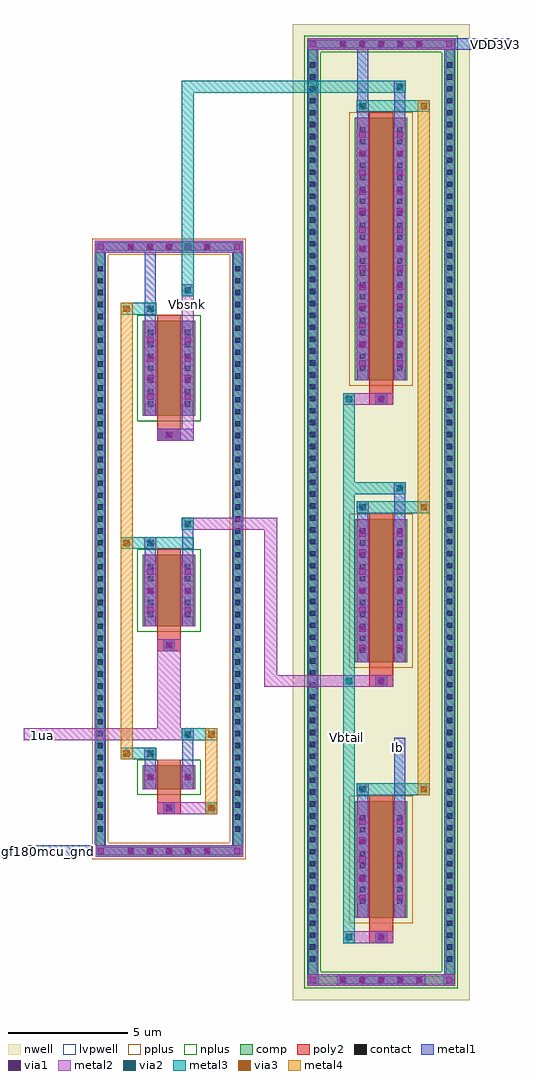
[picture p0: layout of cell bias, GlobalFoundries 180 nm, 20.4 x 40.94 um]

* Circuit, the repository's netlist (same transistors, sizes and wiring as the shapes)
** sch_path: /foss/designs/core_pga/folded_cascode/bias.sch
.subckt bias gf180mcu_gnd VDD3V3 1ua Vbtail Vbsnk Ib
*.PININFO gf180mcu_gnd:B VDD3V3:B 1ua:B Vbtail:B Vbsnk:B Ib:B
M12 1ua 1ua gf180mcu_gnd gf180mcu_gnd nfet_03v3 L=1u W=1u nf=1
M13 Vbtail 1ua gf180mcu_gnd gf180mcu_gnd nfet_03v3 L=1u W=3u nf=1
M14 Vbtail Vbtail VDD3V3 VDD3V3 pfet_03v3 L=1u W=6u nf=1
M15 Vbsnk Vbsnk gf180mcu_gnd gf180mcu_gnd nfet_03v3 L=1u W=4u nf=1
M16 Vbsnk Vbtail VDD3V3 VDD3V3 pfet_03v3 L=1u W=11u nf=1
M28 Ib Vbtail VDD3V3 VDD3V3 pfet_03v3 L=1u W=4.9u nf=1
.ends

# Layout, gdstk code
import gdstk
lib = gdstk.Library(unit=1e-6, precision=5e-09)
def R(c, l, rs):  # rectangles x0, y0, x1, y1
    for r in rs: c.add(gdstk.rectangle(r[:2], r[2:], *l))
def A(c, l, x, y, w, h, nx, ny, dx, dy):  # array of equal rectangles
    R(c, l, [(x+i*dx, y+j*dy, x+i*dx+w, y+j*dy+h) for i in range(nx) for j in range(ny)])
def P(c, l, *ps):  # polygons
    for p in ps: c.add(gdstk.Polygon(p, *l))
nwell = (21, 0)
comp = (22, 0)
poly2 = (30, 0)
pplus = (31, 0)
nplus = (32, 0)
contact = (33, 0)
metal1 = (34, 0)
via1 = (35, 0)
metal2 = (36, 0)
via2 = (38, 0)
via3 = (40, 0)
metal3 = (42, 0)
metal4 = (46, 0)
lvpwell = (204, 0)

bias = lib.new_cell('bias')
R(bias, nwell, [(5.18,-9.595,12.62,31.345), (7.45,-7.325,10.35,0.415), (7.45,3.415,10.35,12.245), (7.45,15.245,10.35,29.075)])
A(bias, comp, 7.12, -8.935, 0.36, 0.36, 5, 2, 0.8, 39.26)
A(bias, comp, 5.84, -8.055, 0.36, 0.36, 1, 76, 0, 0.5)
A(bias, comp, 11.6, -8.055, 0.36, 0.36, 1, 76, 0, 0.5)
A(bias, comp, -1.78, -3.525, 0.36, 0.36, 5, 2, 0.8, 25.35)
A(bias, comp, -3.06, -2.6, 0.36, 0.36, 1, 48, 0, 0.5)
A(bias, comp, 2.7, -2.6, 0.36, 0.36, 1, 48, 0, 0.5)
R(bias, comp, [(7.12,-8.935,10.68,-8.575), (5.84,-8.055,6.2,29.805), (11.6,-8.055,11.96,29.805), (7.8,-6.155,10,-1.255), (-1.78,-3.525,1.78,-3.165), (-3.06,-2.6,-2.7,21.26), (2.7,-2.6,3.06,21.26), (-1.1,-0.755,1.1,0.245), (7.8,4.575,10,10.575), (-1.1,6.075,1.1,9.075), (-1.1,14.905,1.1,18.905), (7.8,16.405,10,27.405), (-1.78,21.825,1.78,22.185), (7.12,30.325,10.68,30.685)])
P(bias, comp, [(5.84,-8.935),(5.84,-8.575),(6.2,-8.575),(11.6,-8.575),(11.6,30.325),(6.2,30.325),(6.2,-8.575),(5.84,-8.575),(5.84,30.685),(11.96,30.685),(11.96,-8.935)],
  [(-3.06,-3.525),(-3.06,-3.165),(-2.7,-3.165),(2.7,-3.165),(2.7,21.825),(-2.7,21.825),(-2.7,-3.165),(-3.06,-3.165),(-3.06,22.185),(3.06,22.185),(3.06,-3.525)])
R(bias, poly2, [(8.4,-7.205,9.4,-6.705), (8.72,-7.135,9.08,-6.775), (8.4,-6.705,9.4,-6.4), (8.4,-6.4,9.4,-1.01), (-0.5,-1.795,0.5,-1.295), (-0.18,-1.725,0.18,-1.365), (-0.5,-1.295,0.5,-0.995), (-0.5,-0.995,0.5,0.485), (8.4,3.535,9.4,4.035), (8.72,3.605,9.08,3.965), (8.4,4.035,9.4,4.335), (8.4,4.335,9.4,10.815), (-0.5,5.035,0.5,5.535), (-0.18,5.105,0.18,5.465), (-0.5,5.535,0.5,5.835), (-0.5,5.835,0.5,9.315), (-0.5,13.865,0.5,14.365), (-0.18,13.935,0.18,14.295), (-0.5,14.365,0.5,14.665), (-0.5,14.665,0.5,19.145), (8.4,15.365,9.4,15.865), (8.72,15.435,9.08,15.795), (8.4,15.865,9.4,16.165), (8.4,16.165,9.4,27.645)])
R(bias, pplus, [(7.57,-6.385,10.23,-1.025), (7.57,4.345,10.23,10.805), (7.57,16.175,10.23,27.635)])
P(bias, pplus, [(-3.22,-3.685),(-3.22,-3.005),(-2.54,-3.005),(2.54,-3.005),(2.54,21.665),(-2.54,21.665),(-2.54,-3.005),(-3.22,-3.005),(-3.22,22.345),(3.22,22.345),(3.22,-3.685)])
R(bias, nplus, [(-1.33,-0.985,1.33,0.475), (-1.33,5.845,1.33,9.305), (-1.33,14.675,1.33,19.135)])
P(bias, nplus, [(5.68,-9.095),(5.68,-8.415),(6.36,-8.415),(11.44,-8.415),(11.44,30.165),(6.36,30.165),(6.36,-8.415),(5.68,-8.415),(5.68,30.845),(12.12,30.845),(12.12,-9.095)])
A(bias, contact, 7.19, -8.865, 0.22, 0.22, 5, 2, 0.8, 39.26)
A(bias, contact, 5.91, -7.985, 0.22, 0.22, 1, 76, 0, 0.5)
A(bias, contact, 11.67, -7.985, 0.22, 0.22, 1, 76, 0, 0.5)
A(bias, contact, 8.01, -5.565, 0.22, 0.22, 1, 8, 0, 0.5)
A(bias, contact, 9.57, -5.565, 0.22, 0.22, 1, 8, 0, 0.5)
A(bias, contact, -1.71, -3.455, 0.22, 0.22, 5, 2, 0.8, 25.35)
A(bias, contact, -2.99, -2.53, 0.22, 0.22, 1, 48, 0, 0.5)
A(bias, contact, 2.77, -2.53, 0.22, 0.22, 1, 48, 0, 0.5)
A(bias, contact, 8.01, 4.965, 0.22, 0.22, 1, 11, 0, 0.5)
A(bias, contact, 9.57, 4.965, 0.22, 0.22, 1, 11, 0, 0.5)
A(bias, contact, -0.89, 6.465, 0.22, 0.22, 1, 5, 0, 0.5)
A(bias, contact, 0.67, 6.465, 0.22, 0.22, 1, 5, 0, 0.5)
A(bias, contact, -0.89, 15.295, 0.22, 0.22, 1, 7, 0, 0.5)
A(bias, contact, 0.67, 15.295, 0.22, 0.22, 1, 7, 0, 0.5)
A(bias, contact, 8.01, 16.795, 0.22, 0.22, 1, 21, 0, 0.5)
A(bias, contact, 9.57, 16.795, 0.22, 0.22, 1, 21, 0, 0.5)
R(bias, contact, [(8.79,-7.065,9.01,-6.845), (-0.11,-1.655,0.11,-1.435), (-0.89,-0.365,-0.67,-0.145), (0.67,-0.365,0.89,-0.145), (8.79,3.675,9.01,3.895), (-0.11,5.175,0.11,5.395), (-0.11,14.005,0.11,14.225), (8.79,15.505,9.01,15.725)])
A(bias, metal1, 7.05, -9.005, 0.5, 0.5, 5, 2, 0.8, 39.26)
A(bias, metal1, 5.79, -8.105, 0.46, 0.46, 1, 76, 0, 0.5)
A(bias, metal1, 11.55, -8.105, 0.46, 0.46, 1, 76, 0, 0.5)
A(bias, metal1, 7.89, -5.685, 0.46, 0.46, 1, 8, 0, 0.5)
A(bias, metal1, 9.45, -5.685, 0.46, 0.46, 1, 8, 0, 0.5)
A(bias, metal1, 7.87, -5.555, 0.5, 0.5, 1, 5, 0, 0.8)
A(bias, metal1, 9.43, -5.555, 0.5, 0.5, 1, 5, 0, 0.8)
A(bias, metal1, -1.85, -3.595, 0.5, 0.5, 5, 2, 0.8, 25.35)
A(bias, metal1, -3.11, -2.65, 0.46, 0.46, 1, 48, 0, 0.5)
A(bias, metal1, 2.65, -2.65, 0.46, 0.46, 1, 48, 0, 0.5)
A(bias, metal1, 7.89, 4.845, 0.46, 0.46, 1, 11, 0, 0.5)
A(bias, metal1, 9.45, 4.845, 0.46, 0.46, 1, 11, 0, 0.5)
A(bias, metal1, 7.87, 4.925, 0.5, 0.5, 1, 7, 0, 0.8)
A(bias, metal1, 9.43, 4.925, 0.5, 0.5, 1, 7, 0, 0.8)
A(bias, metal1, -1.01, 6.345, 0.46, 0.46, 1, 5, 0, 0.5)
A(bias, metal1, 0.55, 6.345, 0.46, 0.46, 1, 5, 0, 0.5)
A(bias, metal1, -1.03, 6.525, 0.5, 0.5, 1, 3, 0, 0.8)
A(bias, metal1, 0.53, 6.525, 0.5, 0.5, 1, 3, 0, 0.8)
A(bias, metal1, -1.01, 15.175, 0.46, 0.46, 1, 7, 0, 0.5)
A(bias, metal1, 0.55, 15.175, 0.46, 0.46, 1, 7, 0, 0.5)
A(bias, metal1, -1.03, 15.455, 0.5, 0.5, 1, 4, 0, 0.8)
A(bias, metal1, 0.53, 15.455, 0.5, 0.5, 1, 4, 0, 0.8)
A(bias, metal1, 7.89, 16.675, 0.46, 0.46, 1, 21, 0, 0.5)
A(bias, metal1, 9.45, 16.675, 0.46, 0.46, 1, 21, 0, 0.5)
A(bias, metal1, 7.87, 16.855, 0.5, 0.5, 1, 13, 0, 0.8)
A(bias, metal1, 9.43, 16.855, 0.5, 0.5, 1, 13, 0, 0.8)
R(bias, metal1, [(5.79,-9.005,6.29,-8.505), (5.79,-9.005,6.29,-8.505), (5.79,-9.005,6.25,-8.575), (7.05,-9.005,10.75,-8.505), (11.51,-9.005,12.01,-8.505), (11.51,-9.005,12.01,-8.505), (11.55,-9.005,12.01,-8.575), (5.79,-8.575,6.25,30.325), (11.55,-8.575,12.01,30.325), (8.65,-7.205,9.15,-6.705), (7.89,-6.155,8.35,-1.255), (7.89,-6.155,8.35,-0.505), (9.45,-6.155,9.91,-1.255), (7.87,-5.555,8.37,-1.855), (9.43,-5.555,9.93,-1.855), (-5.93,-3.595,3.11,-3.095), (-3.11,-3.595,-2.61,-3.095), (-3.11,-3.595,-2.61,-3.095), (-3.11,-3.595,-2.65,-3.165), (-1.85,-3.595,1.85,-3.095), (2.61,-3.595,3.11,-3.095), (2.61,-3.595,3.11,-3.095), (2.65,-3.595,3.11,-3.165), (-3.11,-3.165,-2.65,21.825), (2.65,-3.165,3.11,21.825), (-0.25,-1.795,0.25,-1.295), (7.89,-1.255,8.35,-0.505), (9.45,-1.255,9.91,1.41), (7.87,-1.005,8.37,-0.505), (-1.01,-0.755,-0.55,0.995), (-1.01,-0.755,-0.55,0.245), (0.55,-0.755,1.01,0.245), (-1.03,-0.505,-0.53,-0.005), (-1.03,-0.505,-0.53,-0.005), (0.53,-0.505,1.03,-0.005), (0.53,-0.505,1.03,-0.005), (-1.01,-0.485,-0.55,-0.025), (0.55,-0.485,1.01,-0.025), (-1.01,0.245,-0.55,0.995), (0.55,0.245,1.01,1.795), (-1.03,0.495,-0.53,0.995), (0.53,1.295,1.03,1.795), (8.65,3.535,9.15,4.035), (7.89,4.575,8.35,11.325), (7.89,4.575,8.35,10.575), (9.45,4.575,9.91,10.575), (7.87,4.925,8.37,10.225), (9.43,4.925,9.93,10.225), (-0.25,5.035,0.25,5.535), (-1.01,6.075,-0.55,9.075), (-1.01,6.075,-0.55,9.825), (0.55,6.075,1.01,9.075), (-1.03,6.525,-0.53,8.625), (0.53,6.525,1.03,8.625), (-1.01,9.075,-0.55,9.825), (0.55,9.075,1.01,10.625), (-1.03,9.325,-0.53,9.825), (0.53,10.125,1.03,10.625), (7.89,10.575,8.35,11.325), (9.45,10.575,9.91,12.125), (7.87,10.825,8.37,11.325), (9.43,11.625,9.93,12.125), (-0.5,13.865,1.03,14.365), (-0.25,13.865,0.25,14.365), (-1.01,14.905,-0.55,18.905), (-1.01,14.905,-0.55,19.655), (-1.01,14.905,-0.55,22.255), (0.55,14.905,1.01,18.905), (8.65,15.365,9.15,15.865), (-1.03,15.455,-0.53,18.355), (0.53,15.455,1.03,18.355), (7.89,16.405,8.35,27.405), (9.45,16.405,9.91,27.405), (7.87,16.855,8.37,26.955), (7.89,16.855,8.37,28.155), (9.43,16.855,9.93,26.955), (-1.01,18.905,-0.55,19.655), (-1.03,19.155,-0.53,19.655), (0.53,19.93,1.03,20.43), (-3.11,21.755,-2.61,22.255), (-3.11,21.755,-2.61,22.255), (-3.11,21.755,3.11,22.255), (-1.85,21.755,1.85,22.255), (2.61,21.755,3.11,22.255), (2.61,21.755,3.11,22.255), (-3.11,21.825,-2.65,22.255), (2.65,21.825,3.11,22.255), (7.89,27.405,8.35,30.755), (9.45,27.405,9.91,28.955), (7.87,27.655,8.37,28.155), (9.43,28.455,9.93,28.955), (5.79,30.255,6.29,30.755), (5.79,30.255,6.29,30.755), (5.79,30.255,14.31,30.755), (7.05,30.255,10.75,30.755), (11.51,30.255,12.01,30.755), (11.51,30.255,12.01,30.755), (5.79,30.325,6.25,30.755), (11.55,30.325,12.01,30.755)])
P(bias, metal1, [(0.55,18.905),(0.55,18.905),(1.01,18.905),(1.01,18.905)])
A(bias, via1, 7.17, -8.885, 0.26, 0.26, 5, 2, 0.8, 39.26)
A(bias, via1, 7.99, -5.435, 0.26, 0.26, 1, 5, 0, 0.8)
A(bias, via1, 9.55, -5.435, 0.26, 0.26, 1, 5, 0, 0.8)
A(bias, via1, -1.73, -3.475, 0.26, 0.26, 5, 2, 0.8, 25.35)
A(bias, via1, 7.99, 5.045, 0.26, 0.26, 1, 7, 0, 0.8)
A(bias, via1, 9.55, 5.045, 0.26, 0.26, 1, 7, 0, 0.8)
A(bias, via1, -0.91, 6.645, 0.26, 0.26, 1, 3, 0, 0.8)
A(bias, via1, 0.65, 6.645, 0.26, 0.26, 1, 3, 0, 0.8)
A(bias, via1, -0.91, 15.575, 0.26, 0.26, 1, 4, 0, 0.8)
A(bias, via1, 0.65, 15.575, 0.26, 0.26, 1, 4, 0, 0.8)
A(bias, via1, 7.99, 16.975, 0.26, 0.26, 1, 13, 0, 0.8)
A(bias, via1, 9.55, 16.975, 0.26, 0.26, 1, 13, 0, 0.8)
R(bias, via1, [(5.91,-8.885,6.17,-8.625), (11.63,-8.885,11.89,-8.625), (8.77,-7.085,9.03,-6.825), (-2.99,-3.475,-2.73,-3.215), (2.73,-3.475,2.99,-3.215), (-0.13,-1.675,0.13,-1.415), (7.99,-0.885,8.25,-0.625), (-0.91,-0.385,-0.65,-0.125), (0.65,-0.385,0.91,-0.125), (-0.91,0.615,-0.65,0.875), (0.65,1.415,0.91,1.675), (8.77,3.655,9.03,3.915), (-0.13,5.155,0.13,5.415), (-0.91,9.445,-0.65,9.705), (0.65,10.245,0.91,10.505), (7.99,10.945,8.25,11.205), (9.55,11.745,9.81,12.005), (-0.13,13.985,0.13,14.245), (8.77,15.485,9.03,15.745), (-0.91,19.275,-0.65,19.535), (0.65,20.05,0.91,20.31), (-2.99,21.875,-2.73,22.135), (2.73,21.875,2.99,22.135), (7.99,27.775,8.25,28.035), (9.55,28.575,9.81,28.835), (5.91,30.375,6.17,30.635), (11.63,30.375,11.89,30.635)])
A(bias, metal2, 7.05, -9.005, 0.5, 0.5, 5, 2, 0.8, 39.26)
A(bias, metal2, 7.87, -5.555, 0.5, 0.5, 1, 5, 0, 0.8)
A(bias, metal2, 9.43, -5.555, 0.5, 0.5, 1, 5, 0, 0.8)
A(bias, metal2, -1.85, -3.595, 0.5, 0.5, 5, 2, 0.8, 25.35)
A(bias, metal2, 7.87, 4.925, 0.5, 0.5, 1, 7, 0, 0.8)
A(bias, metal2, 9.43, 4.925, 0.5, 0.5, 1, 7, 0, 0.8)
A(bias, metal2, -1.03, 6.525, 0.5, 0.5, 1, 3, 0, 0.8)
A(bias, metal2, 0.53, 6.525, 0.5, 0.5, 1, 3, 0, 0.8)
A(bias, metal2, -1.03, 15.455, 0.5, 0.5, 1, 4, 0, 0.8)
A(bias, metal2, 0.53, 15.455, 0.5, 0.5, 1, 4, 0, 0.8)
A(bias, metal2, 7.87, 16.855, 0.5, 0.5, 1, 13, 0, 0.8)
A(bias, metal2, 9.43, 16.855, 0.5, 0.5, 1, 13, 0, 0.8)
R(bias, metal2, [(5.79,-9.005,6.2,-8.505), (5.79,-9.005,6.29,-8.505), (5.79,-9.005,6.29,-8.505), (6.2,-9.005,11.6,-8.505), (11.51,-9.005,12.01,-8.505), (11.51,-9.005,12.01,-8.505), (11.6,-9.005,12.01,-8.505), (7.3,-7.205,7.8,-6.705), (7.3,-7.205,9.4,-6.705), (7.3,-7.205,9.4,-6.705), (8.65,-7.205,9.15,-6.705), (7.87,-6.155,8.37,-1.255), (9.43,-6.155,9.93,-1.255), (-3.11,-3.595,-2.7,-3.095), (-3.11,-3.595,-2.61,-3.095), (-3.11,-3.595,-2.61,-3.095), (-2.7,-3.595,2.7,-3.095), (2.61,-3.595,3.11,-3.095), (2.61,-3.595,3.11,-3.095), (2.7,-3.595,3.11,-3.095), (-0.5,-1.795,0.5,-1.295), (-0.25,-1.795,0.25,-1.295), (0.5,-1.795,2.03,-1.295), (1.53,-1.795,2.03,-1.295), (7.87,-1.005,8.37,-0.505), (-1.03,-0.755,-0.53,0.245), (0.53,-0.755,1.03,0.245), (-1.03,-0.505,-0.53,-0.005), (0.53,-0.505,1.03,-0.005), (-1.03,0.495,-0.53,0.995), (-6.09,1.295,1.03,1.795), (-0.5,1.295,0.5,5.535), (0.53,1.295,1.03,1.795), (3.99,3.535,8.4,4.035), (3.99,3.535,4.54,10.625), (7.3,3.535,7.8,4.035), (7.3,3.535,7.8,4.035), (7.3,3.535,8.4,4.035), (8.4,3.535,9.4,4.035), (8.65,3.535,9.15,4.035), (7.87,4.575,8.37,10.575), (9.43,4.575,9.93,10.575), (-0.25,5.035,0.25,5.535), (-1.03,6.075,-0.53,9.075), (0.53,6.075,1.03,9.075), (-1.03,9.325,-0.53,9.825), (0.53,10.125,1.03,10.625), (0.53,10.125,4.54,10.625), (7.87,10.825,8.37,11.325), (9.43,11.625,9.93,12.125), (-0.5,13.865,1.03,14.365), (-0.25,13.865,0.25,14.365), (0.53,13.865,1.03,20.43), (-1.03,14.905,-0.53,18.905), (7.3,15.365,7.8,15.865), (7.3,15.365,8.4,15.865), (8.4,15.365,9.4,15.865), (8.65,15.365,9.15,15.865), (7.87,16.405,8.37,27.405), (9.43,16.405,9.93,27.405), (-1.03,19.155,-0.53,19.655), (0.53,19.93,1.03,20.43), (-3.11,21.755,-2.7,22.255), (-3.11,21.755,-2.61,22.255), (-3.11,21.755,-2.61,22.255), (-2.7,21.755,2.7,22.255), (2.61,21.755,3.11,22.255), (2.61,21.755,3.11,22.255), (2.7,21.755,3.11,22.255), (7.87,27.655,8.37,28.155), (9.43,28.455,9.93,28.955), (5.79,30.255,6.2,30.755), (5.79,30.255,6.29,30.755), (5.79,30.255,6.29,30.755), (6.2,30.255,11.6,30.755), (11.51,30.255,12.01,30.755), (11.51,30.255,12.01,30.755), (11.6,30.255,12.01,30.755)])
R(bias, via2, [(7.42,-7.085,7.68,-6.825), (1.65,-1.675,1.91,-1.415), (7.99,-0.885,8.25,-0.625), (-0.91,0.615,-0.65,0.875), (0.65,1.415,0.91,1.675), (7.42,3.655,7.68,3.915), (7.42,3.655,7.68,3.915), (-0.91,9.445,-0.65,9.705), (0.65,10.245,0.91,10.505), (7.99,10.945,8.25,11.205), (9.55,11.745,9.81,12.005), (7.42,15.485,7.68,15.745), (-0.91,19.275,-0.65,19.535), (0.65,20.05,0.91,20.31), (7.99,27.775,8.25,28.035), (9.55,28.575,9.81,28.835)])
R(bias, via3, [(1.65,-1.675,1.91,-1.415), (10.55,-0.885,10.81,-0.625), (-1.91,0.615,-1.65,0.875), (1.65,1.415,1.91,1.675), (-1.91,9.445,-1.65,9.705), (-1.91,9.445,-1.65,9.705), (10.55,10.945,10.81,11.205), (10.55,10.945,10.81,11.205), (-1.91,19.275,-1.65,19.535), (10.55,27.775,10.81,28.035)])
R(bias, metal3, [(7.3,-7.205,7.8,-6.705), (7.3,-7.205,7.8,4.035), (1.53,-1.795,2.03,-1.295), (7.87,-1.005,8.37,-0.505), (7.87,-1.005,9.93,-0.505), (9.93,-1.005,10.93,-0.505), (10.43,-1.005,10.93,-0.505), (-2.03,0.495,-1.53,0.995), (-2.03,0.495,-1.03,0.995), (-1.03,0.495,-0.53,0.995), (-1.03,0.495,-1.01,0.995), (0.53,1.295,1.03,1.795), (1.03,1.295,2.03,1.795), (1.53,1.295,2.03,1.795), (7.3,3.535,7.8,4.035), (7.3,3.535,7.8,4.035), (7.3,3.535,7.8,15.865), (-2.03,9.325,-1.53,9.825), (-2.03,9.325,-1.53,9.825), (-2.03,9.325,-1.03,9.825), (-2.03,9.325,-1.03,9.825), (-1.03,9.325,-0.53,9.825), (-1.03,9.325,1.03,9.825), (0.53,10.125,1.03,10.625), (7.87,10.825,8.37,11.325), (7.87,10.825,10.93,11.325), (10.43,10.825,10.93,11.325), (10.43,10.825,10.93,11.325), (7.3,11.625,9.93,12.125), (9.43,11.625,9.93,12.125), (9.43,11.625,9.93,12.125), (7.3,15.365,7.8,15.865), (-2.03,19.155,-1.53,19.655), (-2.03,19.155,-1.03,19.655), (-1.03,19.155,-0.53,19.655), (-1.03,19.155,-0.53,19.655), (0.53,19.93,1.03,20.43), (0.53,19.93,1.03,20.43), (0.53,19.93,1.03,28.955), (7.87,27.655,8.37,28.155), (7.87,27.655,9.93,28.155), (9.93,27.655,10.93,28.155), (10.43,27.655,10.93,28.155), (0.53,28.455,9.93,28.955), (9.43,28.455,9.93,28.955)])
P(bias, metal3, [(7.8,-7.205),(7.8,-6.705),(7.8,-6.705),(7.8,-7.205)],
  [(7.8,3.535),(7.8,4.035),(7.8,4.035),(7.8,3.535)],
  [(7.8,3.535),(7.8,4.035),(7.8,4.035),(7.8,3.535)],
  [(7.8,15.365),(7.8,15.865),(7.8,15.865),(7.8,15.365)])
R(bias, metal4, [(1.53,-1.795,2.03,-1.295), (1.53,-1.795,2.03,1.795), (10.43,-1.005,10.93,-0.505), (10.43,-1.005,10.93,11.325), (-2.03,0.495,-1.53,0.995), (-2.03,0.495,-1.53,9.825), (1.53,1.295,2.03,1.795), (10.43,3.535,10.93,12.125), (-2.03,9.325,-1.53,9.825), (-2.03,9.325,-1.53,9.825), (-2.03,9.325,-1.53,19.655), (10.43,10.825,10.93,11.325), (10.43,10.825,10.93,11.325), (10.43,10.825,10.93,28.155), (-2.03,13.865,-1.53,19.655), (-2.03,19.155,-1.53,19.655), (10.43,27.655,10.93,28.155)])
P(bias, metal4, [(10.93,10.825),(10.93,11.325),(10.93,11.325),(10.93,10.825)],
  [(10.93,27.655),(10.93,28.155),(10.93,28.155),(10.93,27.655)],
  [(10.93,-1.005),(10.93,-0.505),(10.93,-0.505),(10.93,-1.005)],
  [(10.93,10.825),(10.93,11.325),(10.93,11.325),(10.93,10.825)],
  [(-1.53,9.325),(-1.53,9.825),(-1.53,9.825),(-1.53,9.325)],
  [(-1.53,19.155),(-1.53,19.655),(-1.53,19.655),(-1.53,19.155)],
  [(-1.53,0.495),(-1.53,0.995),(-1.53,0.995),(-1.53,0.495)],
  [(-1.53,9.325),(-1.53,9.825),(-1.53,9.825),(-1.53,9.325)],
  [(2.03,-1.795),(2.03,-1.295),(2.03,-1.295),(2.03,-1.795)],
  [(2.03,1.295),(2.03,1.795),(2.03,1.795),(2.03,1.295)])
R(bias, lvpwell, [(-3.22,-3.685,3.22,22.345)])
bias.add(gdstk.Label('1ua', (-5.29,1.51), layer=36, texttype=10))
bias.add(gdstk.Label('Vbsnk', (0.76,19.58), layer=36, texttype=10))
bias.add(gdstk.Label('gf180mcu_gnd', (-5.51,-3.35), layer=34, texttype=10))
bias.add(gdstk.Label('VDD3V3', (13.68,30.48), layer=34, texttype=10))
bias.add(gdstk.Label('Ib', (9.6,0.99), layer=34, texttype=10))
bias.add(gdstk.Label('Vbtail', (7.46,1.4), layer=42, texttype=10))

lib.write_gds('bias.gds')
